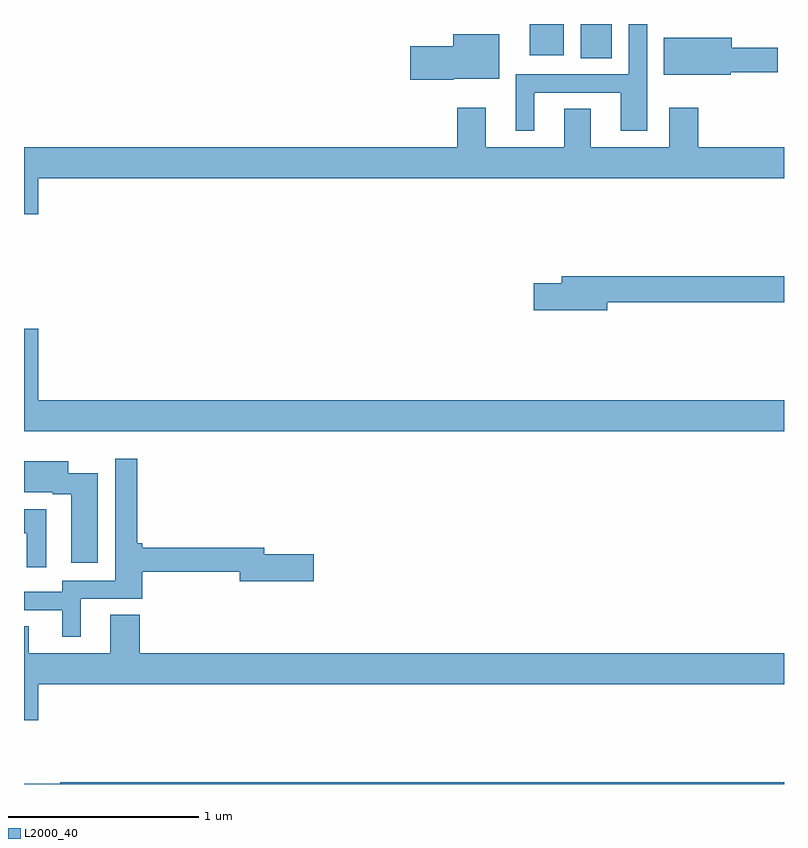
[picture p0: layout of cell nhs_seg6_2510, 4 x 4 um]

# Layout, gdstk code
import gdstk
lib = gdstk.Library(unit=1e-6, precision=1e-09)
def R(c, l, rs):  # rectangles x0, y0, x1, y1
    for r in rs: c.add(gdstk.rectangle(r[:2], r[2:], *l))
def P(c, l, *ps):  # polygons
    for p in ps: c.add(gdstk.Polygon(p, *l))
L2000_40 = (2000, 40)

nhs_seg6_2510 = lib.new_cell('nhs_seg6_2510')
R(nhs_seg6_2510, L2000_40, [(263.93,929.32,264.094,929.5), (263.663,929.336,263.842,929.5)])
P(nhs_seg6_2510, L2000_40, [(263.686,929.139),(264.14,929.139),(264.14,928.938),(264.279,928.938),(264.279,929.5),(264.183,929.5),(264.183,929.235),(263.588,929.235),(263.588,928.938),(263.686,928.938)],
  [(263.262,929.213),(263.5,929.213),(263.5,929.446),(263.258,929.446),(263.258,929.384),(263.034,929.384),(263.034,929.206),(263.262,929.206)],
  [(264.72,929.245),(264.967,929.245),(264.967,929.374),(264.724,929.374),(264.724,929.428),(264.368,929.428),(264.368,929.234),(264.72,929.234)],
  [(261.076,928.688),(265,928.688),(265,928.852),(264.548,928.852),(264.548,929.059),(264.395,929.059),(264.395,928.852),(263.983,928.852),(263.983,929.054),(263.843,929.054),(263.843,928.852),(263.431,928.852),(263.431,929.059),(263.279,929.059),(263.279,928.852),(261,928.852),(261,928.5),(261.076,928.5)],
  [(264.07,928.036),(265,928.036),(265,928.172),(263.831,928.172),(263.831,928.136),(263.682,928.136),(263.682,927.994),(264.07,927.994)],
  [(265,927.52),(261.076,927.52),(261.076,927.895),(261,927.895),(261,927.356),(265,927.356)],
  [(261.298,926.475),(261.623,926.475),(261.623,926.616),(262.136,926.616),(262.136,926.566),(262.525,926.566),(262.525,926.708),(262.264,926.708),(262.264,926.744),(261.623,926.744),(261.623,926.768),(261.596,926.768),(261.596,927.211),(261.48,927.211),(261.48,926.571),(261.201,926.571),(261.201,926.511),(261,926.511),(261,926.415),(261.2,926.415),(261.2,926.274),(261.298,926.274)],
  [(261.388,927.135),(261.232,927.135),(261.232,927.199),(261,927.199),(261,927.036),(261.152,927.036),(261.152,927.024),(261.248,927.024),(261.248,926.664),(261.388,926.664)],
  [(261.118,926.947),(261,926.947),(261,926.819),(261.014,926.819),(261.014,926.64),(261.118,926.64)],
  [(261.076,926.024),(265,926.024),(265,926.188),(261.608,926.188),(261.608,926.39),(261.455,926.39),(261.455,926.188),(261.025,926.188),(261.025,926.33),(261,926.33),(261,925.836),(261.076,925.836)],
  [(265,925.508),(261.19,925.508),(261.19,925.501),(261,925.501),(261,925.5),(265,925.5)])

lib.write_gds('nhs_seg6_2510.gds')
